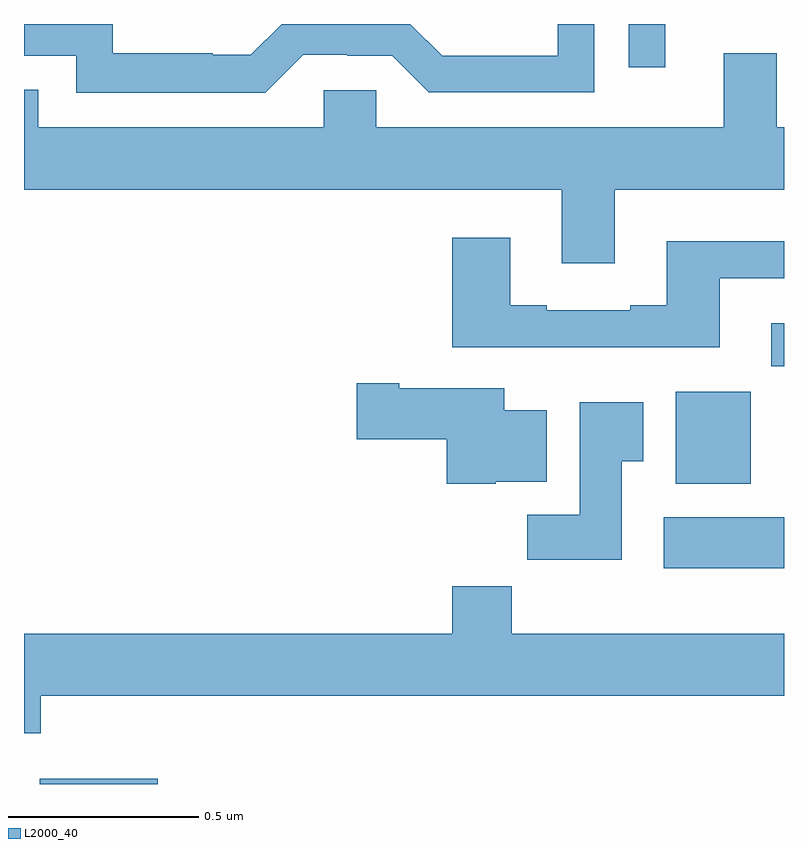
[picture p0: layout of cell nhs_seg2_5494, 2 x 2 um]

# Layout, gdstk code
import gdstk
lib = gdstk.Library(unit=1e-6, precision=1e-09)
def R(c, l, rs):  # rectangles x0, y0, x1, y1
    for r in rs: c.add(gdstk.rectangle(r[:2], r[2:], *l))
def P(c, l, *ps):  # polygons
    for p in ps: c.add(gdstk.Polygon(p, *l))
L2000_40 = (2000, 40)

nhs_seg2_5494 = lib.new_cell('nhs_seg2_5494')
R(nhs_seg2_5494, L2000_40, [(180.042,584.8,180.352,584.814), (181.683,585.368,182,585.502), (181.715,585.59,181.912,585.832), (181.967,585.899,182,586.012), (181.591,586.686,181.687,586.8)])
P(nhs_seg2_5494, L2000_40, [(180.735,586.719),(180.851,586.719),(180.851,586.716),(180.969,586.716),(181.065,586.62),(181.5,586.62),(181.5,586.8),(181.404,586.8),(181.404,586.716),(181.101,586.716),(181.017,586.8),(180.678,586.8),(180.597,586.719),(180.497,586.719),(180.497,586.723),(180.234,586.723),(180.234,586.8),(180,586.8),(180,586.716),(180.138,586.716),(180.138,586.619),(180.635,586.619)],
  [(181.555,586.364),(182,586.364),(182,586.528),(181.981,586.528),(181.981,586.723),(181.841,586.723),(181.841,586.528),(180.927,586.528),(180.927,586.626),(180.789,586.626),(180.789,586.528),(180.037,586.528),(180.037,586.627),(180,586.627),(180,586.364),(181.415,586.364),(181.415,586.17),(181.555,586.17)],
  [(181.831,586.131),(182,586.131),(182,586.228),(181.691,586.228),(181.691,586.06),(181.595,586.06),(181.595,586.047),(181.375,586.047),(181.375,586.06),(181.279,586.06),(181.279,586.237),(181.127,586.237),(181.127,585.95),(181.831,585.95)],
  [(181.242,585.596),(181.375,585.596),(181.375,585.784),(181.264,585.784),(181.264,585.841),(180.988,585.841),(180.988,585.854),(180.876,585.854),(180.876,585.707),(181.112,585.707),(181.112,585.59),(181.242,585.59)],
  [(181.573,585.649),(181.63,585.649),(181.63,585.805),(181.463,585.805),(181.463,585.508),(181.324,585.508),(181.324,585.39),(181.573,585.39)],
  [(180.044,585.032),(182,585.032),(182,585.196),(181.283,585.196),(181.283,585.32),(181.127,585.32),(181.127,585.196),(180,585.196),(180,584.933),(180.044,584.933)])

lib.write_gds('nhs_seg2_5494.gds')
